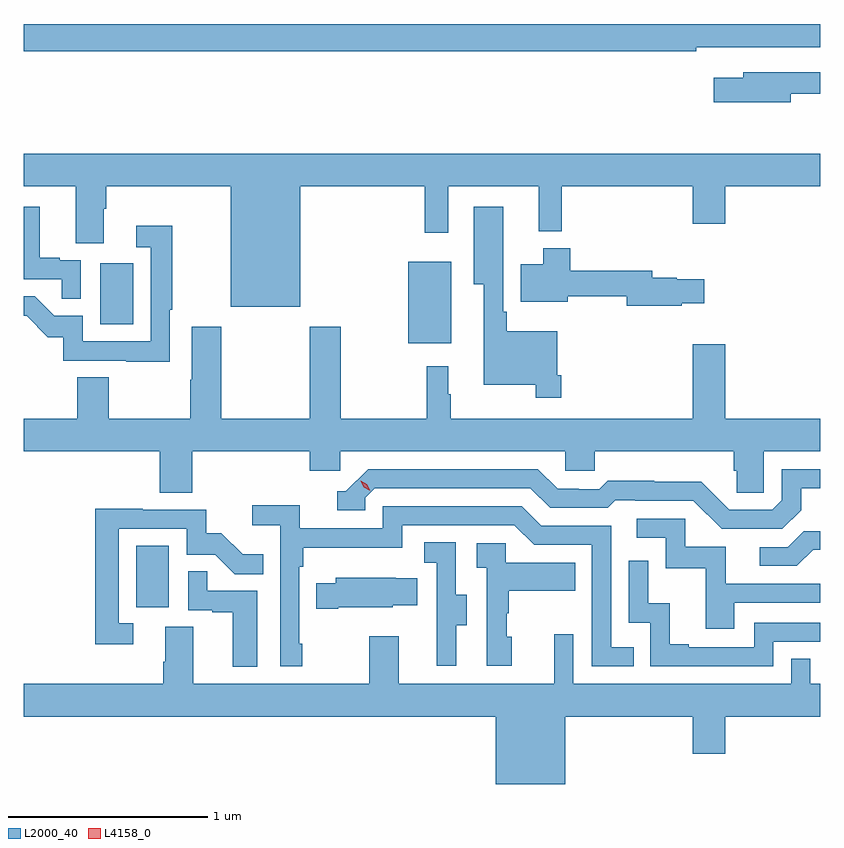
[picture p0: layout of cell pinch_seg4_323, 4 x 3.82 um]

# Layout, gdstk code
import gdstk
lib = gdstk.Library(unit=1e-6, precision=1e-09)
def R(c, l, rs):  # rectangles x0, y0, x1, y1
    for r in rs: c.add(gdstk.rectangle(r[:2], r[2:], *l))
def P(c, l, *ps):  # polygons
    for p in ps: c.add(gdstk.Polygon(p, *l))
L2000_40 = (2000, 40)
L4158_0 = (4158, 0)

pinch_seg4_323 = lib.new_cell('pinch_seg4_323')
R(pinch_seg4_323, L2000_40, [(905.468,801.366,905.632,801.673), (906.836,802.691,907.051,803.101), (905.288,802.788,905.452,803.095)])
P(pinch_seg4_323, L2000_40, [(908.282,804.18),(908.904,804.18),(908.904,804.296),(904.904,804.296),(904.904,804.16),(908.282,804.16)],
  [(908.758,803.946),(908.904,803.946),(908.904,804.054),(908.519,804.054),(908.519,804.025),(908.37,804.025),(908.37,803.903),(908.758,803.903)],
  [(906.292,803.48),(906.919,803.48),(906.919,803.247),(907.035,803.247),(907.035,803.48),(907.49,803.48),(907.49,803.255),(907.607,803.255),(907.607,803.48),(908.264,803.48),(908.264,803.292),(908.428,803.292),(908.428,803.48),(908.904,803.48),(908.904,803.644),(904.904,803.644),(904.904,803.48),(905.165,803.48),(905.165,803.194),(905.305,803.194),(905.305,803.368),(905.318,803.368),(905.318,803.48),(905.942,803.48),(905.942,802.874),(906.292,802.874)],
  [(907.604,802.531),(907.584,802.531),(907.584,802.753),(907.331,802.753),(907.331,802.849),(907.312,802.849),(907.312,803.377),(907.163,803.377),(907.163,802.988),(907.214,802.988),(907.214,802.484),(907.476,802.484),(907.476,802.419),(907.604,802.419)],
  [(905.19,803.109),(905.084,803.109),(905.084,803.122),(904.984,803.122),(904.984,803.377),(904.904,803.377),(904.904,803.013),(905.095,803.013),(905.095,802.915),(905.19,802.915)],
  [(905.637,802.861),(905.65,802.861),(905.65,803.281),(905.469,803.281),(905.469,803.175),(905.541,803.175),(905.541,802.701),(905.199,802.701),(905.199,802.83),(905.055,802.83),(904.957,802.928),(904.904,802.928),(904.904,802.829),(904.917,802.829),(905.024,802.722),(905.101,802.722),(905.101,802.605),(905.419,802.605),(905.419,802.6),(905.637,802.6)],
  [(908.21,802.892),(908.323,802.892),(908.323,803.014),(908.184,803.014),(908.184,803.022),(908.062,803.022),(908.062,803.056),(907.649,803.056),(907.649,803.17),(907.514,803.17),(907.514,803.089),(907.4,803.089),(907.4,802.901),(907.636,802.901),(907.636,802.927),(907.934,802.927),(907.934,802.88),(908.21,802.88)],
  [(905.75,802.148),(906.341,802.148),(906.341,802.05),(906.492,802.05),(906.492,802.148),(907.623,802.148),(907.623,802.05),(907.773,802.05),(907.773,802.148),(908.471,802.148),(908.471,802.05),(908.485,802.05),(908.485,801.94),(908.622,801.94),(908.622,802.148),(908.904,802.148),(908.904,802.312),(908.428,802.312),(908.428,802.687),(908.264,802.687),(908.264,802.312),(907.048,802.312),(907.048,802.436),(907.036,802.436),(907.036,802.576),(906.927,802.576),(906.927,802.312),(906.495,802.312),(906.495,802.774),(906.34,802.774),(906.34,802.312),(905.895,802.312),(905.895,802.774),(905.747,802.774),(905.747,802.508),(905.74,802.508),(905.74,802.312),(905.331,802.312),(905.331,802.52),(905.171,802.52),(905.171,802.312),(904.904,802.312),(904.904,802.148),(905.585,802.148),(905.585,801.94),(905.75,801.94)],
  [(908.809,801.853),(908.809,801.963),(908.904,801.963),(908.904,802.059),(908.712,802.059),(908.712,801.903),(908.664,801.855),(908.448,801.855),(908.306,801.997),(908.07,801.997),(908.07,802),(907.837,802),(907.795,801.957),(907.692,801.957),(907.692,801.96),(907.585,801.96),(907.486,802.059),(906.633,802.059),(906.522,801.948),(906.479,801.948),(906.479,801.852),(906.618,801.852),(906.618,801.915),(906.666,801.963),(907.449,801.963),(907.548,801.864),(907.837,801.864),(907.876,801.903),(907.975,801.903),(907.975,801.9),(908.268,801.9),(908.409,801.759),(908.715,801.759)],
  [(906.301,801.181),(906.288,801.181),(906.288,801.569),(906.308,801.569),(906.308,801.665),(906.804,801.665),(906.804,801.777),(907.368,801.777),(907.467,801.678),(907.758,801.678),(907.758,801.069),(907.967,801.069),(907.967,801.165),(907.854,801.165),(907.854,801.774),(907.504,801.774),(907.405,801.873),(906.708,801.873),(906.708,801.762),(906.29,801.762),(906.29,801.878),(906.051,801.878),(906.051,801.776),(906.192,801.776),(906.192,801.069),(906.301,801.069)],
  [(905.452,801.285),(905.379,801.285),(905.379,801.759),(905.721,801.759),(905.721,801.63),(905.866,801.63),(905.964,801.532),(906.107,801.532),(906.107,801.631),(906.003,801.631),(905.896,801.738),(905.82,801.738),(905.82,801.855),(905.501,801.855),(905.501,801.86),(905.263,801.86),(905.263,801.18),(905.452,801.18)],
  [(908.473,801.387),(908.904,801.387),(908.904,801.483),(908.431,801.483),(908.431,801.669),(908.226,801.669),(908.226,801.81),(907.983,801.81),(907.983,801.714),(908.13,801.714),(908.13,801.561),(908.329,801.561),(908.329,801.258),(908.473,801.258)],
  [(908.869,801.654),(908.904,801.654),(908.904,801.746),(908.822,801.746),(908.742,801.666),(908.601,801.666),(908.601,801.573),(908.788,801.573)],
  [(907.075,801.274),(907.129,801.274),(907.129,801.429),(907.074,801.429),(907.074,801.692),(906.915,801.692),(906.915,801.589),(906.978,801.589),(906.978,801.285),(906.977,801.285),(906.977,801.072),(907.075,801.072)],
  [(907.354,801.216),(907.329,801.216),(907.329,801.335),(907.339,801.335),(907.339,801.449),(907.673,801.449),(907.673,801.589),(907.326,801.589),(907.326,801.687),(907.179,801.687),(907.179,801.563),(907.23,801.563),(907.23,801.072),(907.354,801.072)],
  [(908.67,801.192),(908.904,801.192),(908.904,801.288),(908.574,801.288),(908.574,801.165),(908.245,801.165),(908.245,801.178),(908.15,801.178),(908.15,801.386),(908.04,801.386),(908.04,801.598),(907.944,801.598),(907.944,801.288),(908.052,801.288),(908.052,801.069),(908.67,801.069)],
  [(906.076,801.447),(905.825,801.447),(905.825,801.545),(905.73,801.545),(905.73,801.351),(905.851,801.351),(905.851,801.339),(905.954,801.339),(905.954,801.065),(906.076,801.065)],
  [(906.484,801.365),(906.756,801.365),(906.756,801.374),(906.881,801.374),(906.881,801.511),(906.773,801.511),(906.773,801.514),(906.471,801.514),(906.471,801.487),(906.373,801.487),(906.373,801.358),(906.484,801.358)],
  [(907.624,800.816),(908.264,800.816),(908.264,800.628),(908.428,800.628),(908.428,800.816),(908.904,800.816),(908.904,800.98),(908.856,800.98),(908.856,801.107),(908.76,801.107),(908.76,800.98),(907.665,800.98),(907.665,801.229),(907.568,801.229),(907.568,800.98),(906.787,800.98),(906.787,801.22),(906.64,801.22),(906.64,800.98),(905.755,800.98),(905.755,801.266),(905.615,801.266),(905.615,801.092),(905.603,801.092),(905.603,800.98),(904.904,800.98),(904.904,800.816),(907.274,800.816),(907.274,800.477),(907.624,800.477)])
P(pinch_seg4_323, L4158_0, [(906.643,801.95),(906.612,801.969),(906.595,802.001),(906.595,802.001),(906.596,802.001),(906.627,801.982),(906.643,801.95),(906.643,801.95)])

lib.write_gds('pinch_seg4_323.gds')
